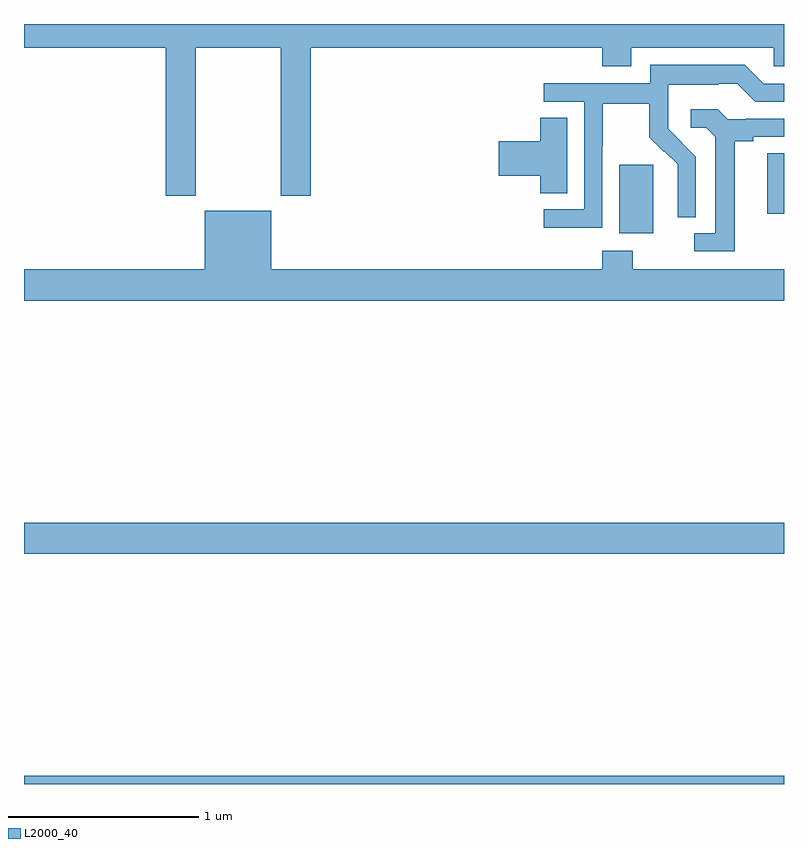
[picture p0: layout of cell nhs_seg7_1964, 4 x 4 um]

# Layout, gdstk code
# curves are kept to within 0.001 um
import gdstk
lib = gdstk.Library(unit=1e-6, precision=1e-09)
def R(c, l, rs):  # rectangles x0, y0, x1, y1
    for r in rs: c.add(gdstk.rectangle(r[:2], r[2:], *l))
def P(c, l, *ps):  # polygons
    for p in ps: c.add(gdstk.Polygon(p, *l))
L2000_40 = (2000, 40)

nhs_seg7_1964 = lib.new_cell('nhs_seg7_1964')
R(nhs_seg7_1964, L2000_40, [(241,1070,245,1070.044), (241,1071.212,245,1071.376), (244.133,1072.898,244.312,1073.259), (244.913,1073.001,245,1073.321)])
P(nhs_seg7_1964, L2000_40, [(241.905,1073.876),(242.35,1073.876),(242.35,1073.097),(242.51,1073.097),(242.51,1073.876),(244.043,1073.876),(244.043,1073.777),(244.195,1073.777),(244.195,1073.876),(244.947,1073.876),(244.947,1073.778),(245,1073.778),(245,1074),(241,1074),(241,1073.876),(241.745,1073.876),(241.745,1073.097),(241.905,1073.097)],
  [(244.044,1073.356),(244.047,1073.356),(244.047,1073.58),(244.291,1073.58),(244.291,1073.405),(244.368,1073.328),(244.371,1073.331),(244.442,1073.261),(244.442,1073.138),(244.44,1073.138),(244.44,1072.984),(244.536,1072.984),(244.536,1073.302),(244.39,1073.45),(244.39,1073.547),(244.392,1073.547),(244.392,1073.681),(244.655,1073.681),(244.655,1073.685),(244.755,1073.685),(244.848,1073.592),(245,1073.592),(245,1073.685),(244.893,1073.685),(244.793,1073.785),(244.296,1073.785),(244.296,1073.688),(243.735,1073.688),(243.735,1073.592),(243.948,1073.592),(243.948,1073.025),(243.735,1073.025),(243.735,1072.927),(244.044,1072.927)],
  [(244.741,1073.384),(244.837,1073.384),(244.837,1073.406),(245,1073.406),(245,1073.502),(244.798,1073.502),(244.798,1073.499),(244.704,1073.499),(244.652,1073.551),(244.509,1073.551),(244.509,1073.454),(244.59,1073.454),(244.637,1073.407),(244.637,1072.899),(244.527,1072.899),(244.527,1072.803),(244.741,1072.803)],
  [(243.859,1073.507),(243.716,1073.507),(243.716,1073.384),(243.498,1073.384),(243.498,1073.201),(243.716,1073.201),(243.716,1073.11),(243.859,1073.11)],
  [(245,1072.708),(244.203,1072.708),(244.203,1072.807),(244.043,1072.807),(244.043,1072.708),(242.302,1072.708),(242.302,1073.017),(241.952,1073.017),(241.952,1072.708),(241,1072.708),(241,1072.544),(245,1072.544)])

lib.write_gds('nhs_seg7_1964.gds')
